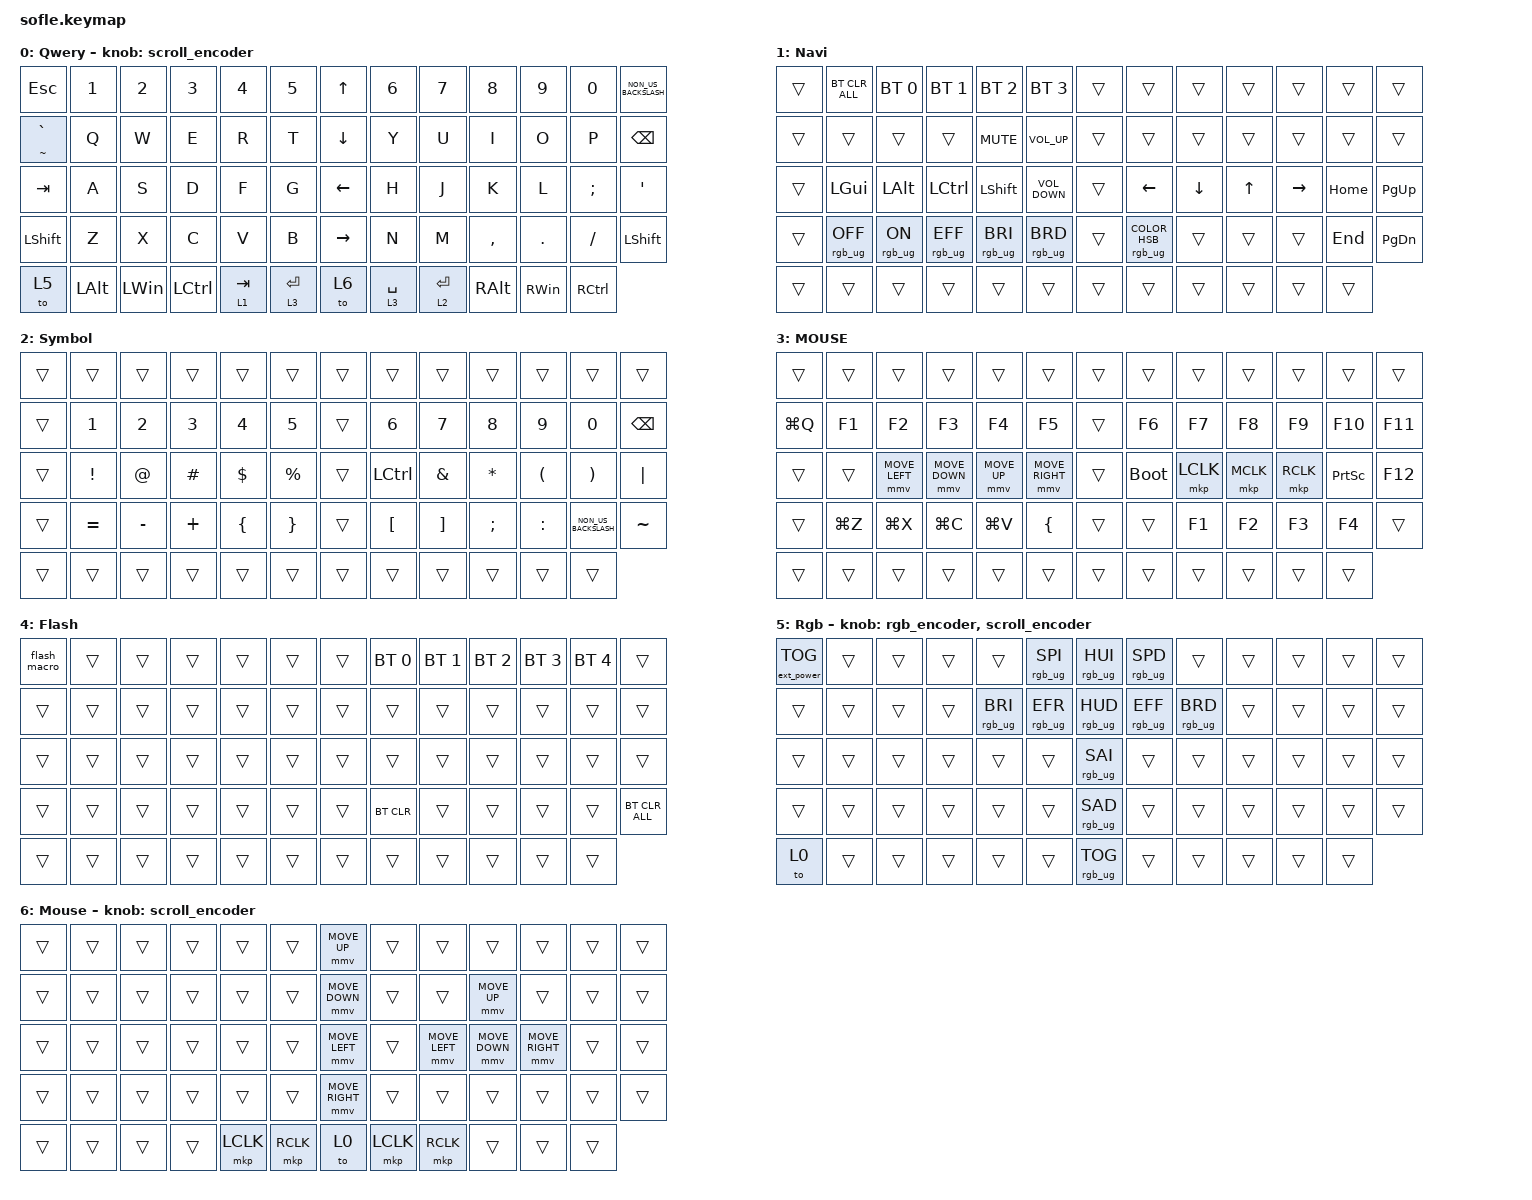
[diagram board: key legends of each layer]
#define ZMK_POINTING_DEFAULT_MOVE_VAL 1200  // 600
#define ZMK_POINTING_DEFAULT_SCRL_VAL 35    // 10

#include <input/processors.dtsi>
#include <zephyr/dt-bindings/input/input-event-codes.h>
#include <behaviors.dtsi>
#include <dt-bindings/zmk/bt.h>
#include <dt-bindings/zmk/ext_power.h>
#include <dt-bindings/zmk/keys.h>
#include <dt-bindings/zmk/pointing.h>
#include <dt-bindings/zmk/rgb.h>

/ {
    zip_scroll_scaler: zip_scroll_scaler {
        compatible = "zmk,input-processor-scaler";
        #input-processor-cells = <2>;
        type = <INPUT_EV_REL>;
        codes = <INPUT_REL_WHEEL INPUT_REL_HWHEEL>;
        track-remainders;
    };
};

&mmv_input_listener { input-processors = <&zip_xy_scaler 2 1>; };

&msc_input_listener { input-processors = <&zip_scroll_scaler 2 1>; };

&msc {
    acceleration-exponent = <0>;      // 0
    time-to-max-speed-ms = <0>;       // 300
    delay-ms = <0>;                   // 0
};

&mmv {
    time-to-max-speed-ms = <400>;
    acceleration-exponent = <1>;
};

/ {
    macros {
        flash_macro: flash_macro {
            compatible = "zmk,behavior-macro";
            #binding-cells = <0>;
            bindings = <&bootloader>;
        };
    };

    behaviors {
        hm: homerow_mods {
            compatible = "zmk,behavior-hold-tap";
            label = "HOMEROW_MODS";
            bindings = <&kp>, <&kp>;

            #binding-cells = <2>;
            tapping-term-ms = <200>;
            quick-tap-ms = <180>;
            flavor = "tap-preferred";
        };

        ltq: ltq {
            compatible = "zmk,behavior-hold-tap";
            label = "LTQ";
            bindings = <&mo>, <&kp>;

            #binding-cells = <2>;
            tapping-term-ms = <200>;
            quick-tap-ms = <180>;
        };

        as: auto_shift {
            compatible = "zmk,behavior-hold-tap";
            label = "AUTO_SHIFT";
            bindings = <&kp>, <&kp>;

            #binding-cells = <2>;
            tapping-term-ms = <135>;
            quick-tap-ms = <0>;
        };

        rgb_encoder: rgb_encoder {
            compatible = "zmk,behavior-sensor-rotate";
            label = "RGB_ENCODER";
            #sensor-binding-cells = <0>;
            bindings = <&rgb_ug RGB_BRI>, <&rgb_ug RGB_BRD>;
        };

        scroll_encoder: scroll_encoder {
            compatible = "zmk,behavior-sensor-rotate";
            #sensor-binding-cells = <0>;
            bindings = <&msc SCRL_UP>, <&msc SCRL_DOWN>;

            tap-ms = <30>;
        };
    };

    combos {
        compatible = "zmk,combos";

        esc {
            bindings = <&kp ESCAPE>;
            key-positions = <13 14>;
        };

        left_bkt {
            bindings = <&kp LEFT_BRACKET>;
            key-positions = <17 16>;
        };

        right_bkt {
            bindings = <&kp RIGHT_BRACKET>;
            key-positions = <21 22>;
        };

        left_par {
            bindings = <&kp LEFT_PARENTHESIS>;
            key-positions = <29 30>;
        };

        right_par {
            bindings = <&kp RIGHT_PARENTHESIS>;
            key-positions = <34 35>;
        };

        left_brace {
            bindings = <&kp LEFT_BRACE>;
            key-positions = <42 43>;
        };

        right_brace {
            bindings = <&kp RIGHT_BRACE>;
            key-positions = <47 48>;
        };

        bac {
            bindings = <&kp BACKSLASH>;
            key-positions = <18 20>;
        };

        pipe {
            bindings = <&kp PIPE>;
            key-positions = <31 33>;
        };
    };

    keymap {
        compatible = "zmk,keymap";

        Qwery {
            bindings = <
&kp ESCAPE       &kp N1        &kp N2        &kp N3            &kp N4      &kp N5          &kp UP_ARROW     &kp N6        &kp N7        &kp N8         &kp N9         &kp N0         &kp NON_US_BACKSLASH
&as TILDE GRAVE  &kp Q         &kp W         &kp E             &kp R       &kp T           &kp DOWN_ARROW   &kp Y         &kp U         &kp I          &kp O          &kp P          &kp BACKSPACE
&kp TAB          &kp A         &kp S         &kp D             &kp F       &kp G           &kp LEFT_ARROW   &kp H         &kp J         &kp K          &kp L          &kp SEMICOLON  &kp SQT
&kp LSHFT        &kp Z         &kp X         &kp C             &kp V       &kp B           &kp RIGHT_ARROW  &kp N         &kp M         &kp COMMA      &kp PERIOD     &kp SLASH      &kp LEFT_SHIFT
&to 5            &kp LEFT_ALT  &kp LEFT_WIN  &kp LEFT_CONTROL  &ltq 1 TAB  &ltq 3 ENTER    &to 6            &ltq 3 SPACE  &ltq 2 ENTER  &kp RIGHT_ALT  &kp RIGHT_WIN  &kp RCTRL
            >;

            sensor-bindings = <&scroll_encoder>;
            display-name = "Qwery";
        };

        bluetooth {
            bindings = <
&trans  &bt BT_CLR_ALL   &bt BT_SEL 0    &bt BT_SEL 1      &bt BT_SEL 2     &bt BT_SEL 3         &trans  &trans                          &trans    &trans        &trans           &trans    &trans
&trans  &trans           &trans          &trans            &kp K_MUTE       &kp C_VOLUME_UP      &trans  &trans                          &trans    &trans        &trans           &trans    &trans
&trans  &kp LEFT_GUI     &kp LEFT_ALT    &kp LEFT_CONTROL  &kp LEFT_SHIFT   &kp C_VOLUME_DOWN    &trans  &kp LEFT                        &kp DOWN  &kp UP_ARROW  &kp RIGHT_ARROW  &kp HOME  &kp PAGE_UP
&trans  &rgb_ug RGB_OFF  &rgb_ug RGB_ON  &rgb_ug RGB_EFF   &rgb_ug RGB_BRI  &rgb_ug RGB_BRD      &trans  &rgb_ug RGB_COLOR_HSB(0,0,100)  &trans    &trans        &trans           &kp END   &kp PAGE_DOWN
&trans  &trans           &trans          &trans            &trans           &trans               &trans  &trans                          &trans    &trans        &trans           &trans
            >;

            label = "Navi";
        };

        Symbol {
            bindings = <
&trans  &trans           &trans        &trans        &trans          &trans             &trans  &trans            &trans             &trans         &trans                &trans                 &trans
&trans  &kp NUMBER_1     &kp NUMBER_2  &kp NUMBER_3  &kp NUMBER_4    &kp N5             &trans  &kp NUMBER_6      &kp N7             &kp N8         &kp N9                &kp N0                 &kp BACKSPACE
&trans  &kp EXCLAMATION  &kp AT_SIGN   &kp HASH      &kp DOLLAR      &kp PERCENT        &trans  &kp LCTRL         &kp AMPERSAND      &kp ASTERISK   &kp LEFT_PARENTHESIS  &kp RIGHT_PARENTHESIS  &kp PIPE
&trans  &kp EQUAL        &kp MINUS     &kp PLUS      &kp LEFT_BRACE  &kp RIGHT_BRACE    &trans  &kp LEFT_BRACKET  &kp RIGHT_BRACKET  &kp SEMICOLON  &kp COLON             &kp NON_US_BACKSLASH   &kp TILDE
&trans  &trans           &trans        &trans        &trans          &trans             &trans  &trans            &trans             &trans         &trans                &trans
            >;

            label = "Symbol";
        };

        FUNCTION {
            bindings = <
&trans     &trans     &trans          &trans          &trans        &trans             &trans  &trans       &trans     &trans     &trans     &trans           &trans
&kp LG(Q)  &kp F1     &kp F2          &kp F3          &kp F4        &kp F5             &trans  &kp F6       &kp F7     &kp F8     &kp F9     &kp F10          &kp F11
&trans     &trans     &mmv MOVE_LEFT  &mmv MOVE_DOWN  &mmv MOVE_UP  &mmv MOVE_RIGHT    &trans  &bootloader  &mkp LCLK  &mkp MCLK  &mkp RCLK  &kp PRINTSCREEN  &kp F12
&trans     &kp LG(Z)  &kp LG(X)       &kp LG(C)       &kp LG(V)     &kp LEFT_BRACE     &trans  &trans       &kp F1     &kp F2     &kp F3     &kp F4           &trans
&trans     &trans     &trans          &trans          &trans        &trans             &trans  &trans       &trans     &trans     &trans     &trans
            >;

            label = "MOUSE";
        };

        Flash {
            bindings = <
&flash_macro  &trans  &trans  &trans  &trans  &trans    &trans  &bt BT_SEL 0  &bt BT_SEL 1  &bt BT_SEL 2  &bt BT_SEL 3  &bt BT_SEL 4  &trans
&trans        &trans  &trans  &trans  &trans  &trans    &trans  &trans        &trans        &trans        &trans        &trans        &trans
&trans        &trans  &trans  &trans  &trans  &trans    &trans  &trans        &trans        &trans        &trans        &trans        &trans
&trans        &trans  &trans  &trans  &trans  &trans    &trans  &bt BT_CLR    &trans        &trans        &trans        &trans        &bt BT_CLR_ALL
&trans        &trans  &trans  &trans  &trans  &trans    &trans  &trans        &trans        &trans        &trans        &trans
            >;

            display-name = "Flash";
        };

        Rgb {
            bindings = <
&ext_power EP_TOG  &trans  &trans  &trans  &trans           &rgb_ug RGB_SPI    &rgb_ug RGB_HUI  &rgb_ug RGB_SPD  &trans           &trans  &trans  &trans  &trans
&trans             &trans  &trans  &trans  &rgb_ug RGB_BRI  &rgb_ug RGB_EFR    &rgb_ug RGB_HUD  &rgb_ug RGB_EFF  &rgb_ug RGB_BRD  &trans  &trans  &trans  &trans
&trans             &trans  &trans  &trans  &trans           &trans             &rgb_ug RGB_SAI  &trans           &trans           &trans  &trans  &trans  &trans
&trans             &trans  &trans  &trans  &trans           &trans             &rgb_ug RGB_SAD  &trans           &trans           &trans  &trans  &trans  &trans
&to 0              &trans  &trans  &trans  &trans           &trans             &rgb_ug RGB_TOG  &trans           &trans           &trans  &trans  &trans
            >;

            label = "Rgb";
            sensor-bindings = <&rgb_encoder &scroll_encoder>;
        };

        Mouse {
            bindings = <
&trans  &trans  &trans  &trans  &trans     &trans       &mmv MOVE_UP     &trans     &trans          &trans          &trans           &trans  &trans
&trans  &trans  &trans  &trans  &trans     &trans       &mmv MOVE_DOWN   &trans     &trans          &mmv MOVE_UP    &trans           &trans  &trans
&trans  &trans  &trans  &trans  &trans     &trans       &mmv MOVE_LEFT   &trans     &mmv MOVE_LEFT  &mmv MOVE_DOWN  &mmv MOVE_RIGHT  &trans  &trans
&trans  &trans  &trans  &trans  &trans     &trans       &mmv MOVE_RIGHT  &trans     &trans          &trans          &trans           &trans  &trans
&trans  &trans  &trans  &trans  &mkp LCLK  &mkp RCLK    &to 0            &mkp LCLK  &mkp RCLK       &trans          &trans           &trans
            >;

            label = "Mouse";
            sensor-bindings = <&scroll_encoder>;
        };
    };

    conditional_layers {
        compatible = "zmk,conditional-layers";

        Flash {
            if-layers = <4 4>;
            then-layer = <4>;
        };
    };
};
